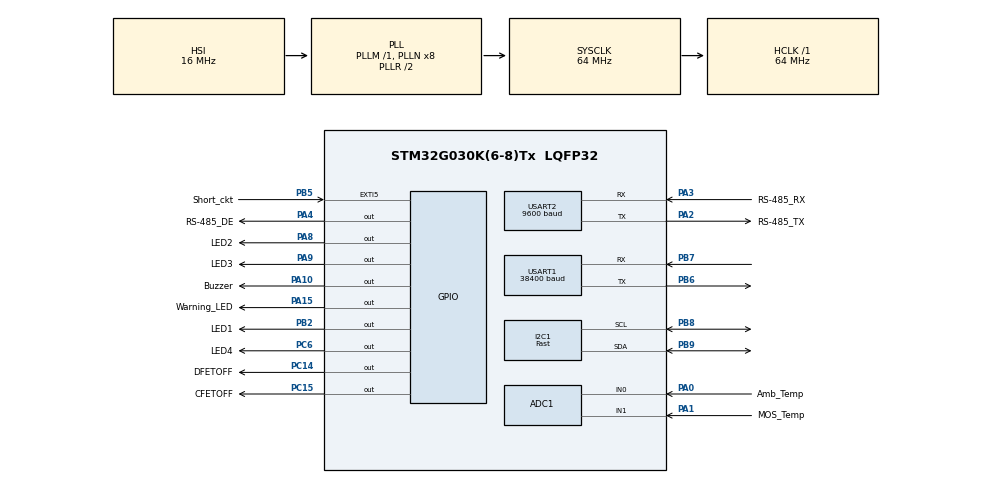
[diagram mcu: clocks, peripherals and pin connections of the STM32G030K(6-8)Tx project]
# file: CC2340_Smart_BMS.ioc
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ADC1.ClockPrescaler=ADC_CLOCK_SYNC_PCLK_DIV4
ADC1.NbrOfConversion=1
ADC1.NbrOfConversionFlag=0
ADC1.SamplingTimeCommon1=ADC_SAMPLETIME_7CYCLES_5
ADC1.SelectedChannel=ADC_CHANNEL_0|ADC_CHANNEL_1
ADC1.Sequencer=NOT_FULLY_CONFIGURABLE
ADC1.master=1
Dma.ADC1.0.Direction=DMA_PERIPH_TO_MEMORY
Dma.ADC1.0.EventEnable=DISABLE
Dma.ADC1.0.Instance=DMA1_Channel1
Dma.ADC1.0.MemDataAlignment=DMA_MDATAALIGN_HALFWORD
Dma.ADC1.0.MemInc=DMA_MINC_ENABLE
Dma.ADC1.0.Mode=DMA_CIRCULAR
Dma.ADC1.0.PeriphDataAlignment=DMA_PDATAALIGN_HALFWORD
Dma.ADC1.0.PeriphInc=DMA_PINC_DISABLE
Dma.ADC1.0.Polarity=HAL_DMAMUX_REQ_GEN_RISING
Dma.ADC1.0.Priority=DMA_PRIORITY_LOW
Dma.ADC1.0.RequestNumber=1
Dma.ADC1.0.SignalID=NONE
Dma.ADC1.0.SyncEnable=DISABLE
Dma.ADC1.0.SyncPolarity=HAL_DMAMUX_SYNC_NO_EVENT
Dma.ADC1.0.SyncRequestNumber=1
Dma.ADC1.0.SyncSignalID=NONE
Dma.Request0=ADC1
I2C1.I2C_Speed_Mode=I2C_Fast
I2C1.NoStretchMode=I2C_NOSTRETCH_ENABLE
I2C1.Timing=0x00602173
IWDG.Prescaler=IWDG_PRESCALER_256
IWDG.Reload=999
Mcu.Family=STM32G0
Mcu.Name=STM32G030K(6-8)Tx
Mcu.Package=LQFP32
NVIC.DMA1_Channel1_IRQn=true\:0\:0\:false\:false\:true\:false\:true\:true
NVIC.EXTI4_15_IRQn=true\:2\:0\:true\:false\:true\:true\:true\:true
NVIC.TIM14_IRQn=true\:1\:0\:true\:false\:true\:true\:true\:true
NVIC.USART1_IRQn=true\:0\:0\:true\:false\:true\:true\:true\:true
PA0.GPIO_Label=Amb_Temp
PA0.Mode=IN0
PA0.Signal=ADC1_IN0
PA1.GPIO_Label=MOS_Temp
PA1.Mode=IN1
PA1.Signal=ADC1_IN1
PA10.GPIO_Label=Buzzer
PA10.Signal=GPIO_Output
PA15.GPIO_Label=Warning_LED
PA15.Signal=GPIO_Output
PA2.GPIO_Label=RS-485_TX
PA2.Mode=Asynchronous
PA2.Signal=USART2_TX
PA3.GPIO_Label=RS-485_RX
PA3.Mode=Asynchronous
PA3.Signal=USART2_RX
PA4.GPIO_Label=RS-485_DE
PA4.Signal=GPIO_Output
PA8.GPIO_Label=LED2
PA8.Signal=GPIO_Output
PA9.GPIO_Label=LED3
PA9.Signal=GPIO_Output
PB2.GPIO_Label=LED1
PB2.Signal=GPIO_Output
PB5.GPIO_Label=Short_ckt
PB5.Signal=GPXTI5
PB6.Mode=Asynchronous
PB6.Signal=USART1_TX
PB7.Mode=Asynchronous
PB7.Signal=USART1_RX
PB8.Mode=I2C
PB8.Signal=I2C1_SCL
PB9.Mode=I2C
PB9.Signal=I2C1_SDA
PC14-OSC32_IN\ (PC14).GPIO_Label=DFETOFF
PC14-OSC32_IN\ (PC14).Signal=GPIO_Output
PC15-OSC32_OUT\ (PC15).GPIO_Label=CFETOFF
PC15-OSC32_OUT\ (PC15).Signal=GPIO_Output
PC6.GPIO_Label=LED4
PC6.Signal=GPIO_Output
ProjectManager.HeapSize=0x200
ProjectManager.StackSize=0x400
ProjectManager.TargetToolchain=MDK-ARM V5.32
RCC.ADCFreq_Value=64000000
RCC.AHBFreq_Value=64000000
RCC.CortexFreq_Value=64000000
RCC.EXTERNAL_CLOCK_VALUE=12288000
RCC.HCLKFreq_Value=64000000
RCC.HSE_VALUE=8000000
RCC.HSI_VALUE=16000000
RCC.LSE_VALUE=32768
RCC.SYSCLKFreq_VALUE=64000000
RCC.SYSCLKSource=RCC_SYSCLKSOURCE_PLLCLK
RCC.VCOOutputFreq_Value=128000000
TIM14.Period=9600
TIM14.Prescaler=1
USART1.BaudRate=38400
USART1.VirtualMode-Asynchronous=VM_ASYNC
USART2.BaudRate=9600
USART2.VirtualMode-Asynchronous=VM_ASYNC
VP_IWDG_VS_IWDG.Mode=IWDG_Activate
VP_TIM14_VS_ClockSourceINT.Mode=Enable_Timer
board=custom

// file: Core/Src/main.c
/* USER CODE BEGIN Header */
/**
  ******************************************************************************
  * @file           : main.c
  * @brief          : Main program body
  ******************************************************************************
  * @attention
  *
  * Copyright (c) 2025 STMicroelectronics.
  * All rights reserved.
  *
  * This software is licensed under terms that can be found in the LICENSE file
  * in the root directory of this software component.
  * If no LICENSE file comes with this software, it is provided AS-IS.
  *
  ******************************************************************************
  */
/* USER CODE END Header */
#include "main.h"
#include "UV_Recovery.h"
#include "adc.h"
#include "dma.h"
#include "i2c.h"
#include "iwdg.h"
#include "tim.h"
#include "usart.h"
#include "gpio.h"

/* USER CODE BEGIN Includes */
#include <stdio.h>
#include "BQ769x2Header.h"
#include "BQ76952.h"
#include "stm32g0xx_hal_spi.h"
#include "stm32g0xx_hal.h"
#include "stm32g0xx_ll_tim.h"
#include "stm32g0xx_ll_gpio.h"
#include "stm32g0xx_ll_usart.h"
#include "stm32g0xx_it.h"
#include <math.h>
/* USER CODE END Includes */

/* USER CODE BEGIN PD */
#define ADC_CONVERTED_DATA_BUFF_SIZE 	8
uint16_t aADC_Converted_Data[ADC_CONVERTED_DATA_BUFF_SIZE];
uint32_t aADC_Converted_Data_Buff[ADC_CONVERTED_DATA_BUFF_SIZE];
/* USER CODE END PD */

/* USER CODE BEGIN PV */
uint8_t sync =35;
//Ambient temperature
float amb_volt, amb_volt_flt;
int int_amb_volt;
double amb_resistance1, amb_res_ln1, amb_Temperature;
double amb_Temp;
const int SAMPLE_NUMBER = 15;
int num[10], sum ;
float	avg;

//Mosfet Temperature
float mosfet_volt, mosfet_volt_flt;
int int_mosfet_volt;
double mosfet_resistance, mosfet_res_ln, mosfet_temperature;
double mosfet_temp;
const int SAMPLE_NUMBER1 = 15;
int num1[10], sum1 ;
float	avg1;

extern volatile uint8_t scheduler_flag;
extern volatile uint8_t read_bq76952_flag;
/* USER CODE END PV */

void SystemClock_Config(void);
/* USER CODE BEGIN PFP */
void delay_1us(uint32_t count);
void ADC_Sampling(void);
void Amb_Temp(void);
void mosfet_Temp(void);

extern void Copy_Flash_To_Ram(int32_t *s32pram_address, /*int32_t*/int64_t *s32pflash_address, uint8_t u8size);
extern const int64_t s32aSystem_Tuning_Fixed_Parameters[26];
extern int32_t s32aSystem_Tuning_Variable_Parameters[26];
extern uint8_t Flash_Erase_and_Program(void);
extern void Task_Scheduler(void);
extern void CAN_Tranmitter(void);
/* USER CODE END PFP */

/* USER CODE BEGIN 0 */
extern void read_last_SOC_and_Cycles(uint8_t *soc, uint16_t *cycles, uint8_t *flag);

void AFE_Init(void)
{
  HAL_Delay(1000);
  CommandSubcommands(BQ769x2_RESET);  // Resets the BQ769x2 registers
	delay_1us(60000);
	BQ769x2_Init();  // Configure all of the BQ769x2 register settings
	delay_1us(10000);
	CommandSubcommands(FET_ENABLE); // Enable the CHG and DSG FETs
	delay_1us(10000);

	//CommandSubcommands(LOAD_DETECT_ON); // Enable Load Detection
	//delay_1us(10000);

	CommandSubcommands(SLEEP_DISABLE); // Sleep mode is enabled by default. For this example, Sleep is disabled to
									   // demonstrate full-speed measurements in Normal mode.  //SLEEP_DISABLE  SLEEP_ENABLE

	delay_1us(60000); delay_1us(60000); delay_1us(60000); delay_1us(60000);  //wait to start measurements after FETs close

}
/* USER CODE END 0 */

int main(void)
{

  /* MCU Configuration--------------------------------------------------------*/

  /* Reset of all peripherals, Initializes the Flash interface and the Systick. */
  HAL_Init();
  UV_Recovery_Init();

  /* Configure the system clock */
  SystemClock_Config();

  /* Initialize all configured peripherals */
  MX_GPIO_Init();
  MX_DMA_Init();
  MX_ADC1_Init();
  MX_USART2_UART_Init();
  MX_I2C1_Init();
  MX_TIM14_Init();
  MX_USART1_UART_Init();
  //MX_IWDG_Init();
  /* USER CODE BEGIN 2 */

	LL_USART_EnableIT_RXNE(USART1);		/*ENABLE UART Receiver Full Interrupt Error*/
	LL_USART_Enable(USART1);

	LL_USART_EnableIT_RXNE(USART2);		/*ENABLE UART Receiver Full Interrupt Error*/
	LL_USART_Enable(USART2);

	AFE_Init();

  Copy_Flash_To_Ram((int32_t *)&s32aSystem_Tuning_Variable_Parameters[0],(int64_t *)&s32aSystem_Tuning_Fixed_Parameters[0],26);

	HAL_ADCEx_Calibration_Start(&hadc1);			//Calibrate to ADC before starting sampling of channel hadc1 instead of hadc
	LL_ADC_Enable(ADC1);
	while (!(LL_ADC_IsActiveFlag_ADRDY(ADC1)))
	{
	}

	LL_ADC_REG_SetSequencerChannels(ADC1,LL_ADC_CHANNEL_0|LL_ADC_CHANNEL_1|LL_ADC_CHANNEL_2			/*Set Channel Sequence for sampling*/
																	|LL_ADC_CHANNEL_3|LL_ADC_CHANNEL_4|LL_ADC_CHANNEL_5|LL_ADC_CHANNEL_7|LL_ADC_CHANNEL_8);

	LL_ADC_REG_SetDMATransfer(ADC1,LL_ADC_REG_DMA_TRANSFER_UNLIMITED);			/*Set DMA for ADC */

	/*Set DMA Transfer for Source to Destination*/
	LL_DMA_ConfigAddresses(DMA1,
                         LL_DMA_CHANNEL_1,			/*Set DMA Channel*/
                         LL_ADC_DMA_GetRegAddr(ADC1, LL_ADC_DMA_REG_REGULAR_DATA), /*peripheral Address*/
                         (uint32_t)&aADC_Converted_Data,		/*Memory Address*/
                         LL_DMA_DIRECTION_PERIPH_TO_MEMORY);	/*Data Flow Direction*/

	LL_DMA_SetDataLength(DMA1,LL_DMA_CHANNEL_1, ADC_CONVERTED_DATA_BUFF_SIZE);  /*Set DMA Transfer Size*/

  LL_DMA_EnableChannel(DMA1,LL_DMA_CHANNEL_1);	/*Ebale DMA*/

  LL_TIM_SetUpdateSource(TIM14,LL_TIM_UPDATESOURCE_COUNTER);  /*Update Source Selection*/
	LL_TIM_EnableIT_UPDATE(TIM14);
	LL_TIM_EnableCounter(TIM14);

	read_last_SOC_and_Cycles(&final_soc, &Total_cycles, &SOC_init_flag);
	soc = final_soc/100.0;
	soc_prev = soc;

	AFE_Init();
	MX_IWDG_Init();
  /* USER CODE END 2 */

  /* Infinite loop */
  while (1)
  {

    /* USER CODE BEGIN 3 */
		UV_Recovery_Service(); HAL_IWDG_Refresh(&hiwdg);  // Refresh the watchdog timer 3 seconds

		if (scheduler_flag)
    {
     scheduler_flag = 0;
     Task_Scheduler();  // Execute tasks outside ISR
    }
		if (read_bq76952_flag) //Read voltage/current in background
    {
     read_bq76952_flag = 0;
     BQ76952_Read_Voltage_Current_temp();
    }
		BQ769x2_ServiceCommErrors();

		if(s32aSystem_Tuning_Variable_Parameters[19] == 4321)
		{
			s32aSystem_Tuning_Variable_Parameters[19] = 1234;
			LL_TIM_DisableIT_UPDATE(TIM14);
			LL_USART_DisableIT_RXNE(USART1);

			s32aSystem_Tuning_Variable_Parameters[18] = (int32_t)Flash_Erase_and_Program();

			if(s32aSystem_Tuning_Variable_Parameters[18] == 3)

			Copy_Flash_To_Ram((int32_t *)&s32aSystem_Tuning_Variable_Parameters[0],(int64_t *)&s32aSystem_Tuning_Fixed_Parameters[0],26);
			LL_TIM_EnableIT_UPDATE(TIM14);
			LL_USART_EnableIT_RXNE(USART1);
		}

	}
  /* USER CODE END 3 */
}

void SystemClock_Config(void)
{
  RCC_OscInitTypeDef RCC_OscInitStruct = {0};
  RCC_ClkInitTypeDef RCC_ClkInitStruct = {0};

  /** Configure the main internal regulator output voltage
  */
  HAL_PWREx_ControlVoltageScaling(PWR_REGULATOR_VOLTAGE_SCALE1);

  /** Initializes the RCC Oscillators according to the specified parameters
  * in the RCC_OscInitTypeDef structure.
  */
  RCC_OscInitStruct.OscillatorType = RCC_OSCILLATORTYPE_HSI|RCC_OSCILLATORTYPE_LSI;
  RCC_OscInitStruct.HSIState = RCC_HSI_ON;
  RCC_OscInitStruct.HSIDiv = RCC_HSI_DIV1;
  RCC_OscInitStruct.HSICalibrationValue = RCC_HSICALIBRATION_DEFAULT;
  RCC_OscInitStruct.LSIState = RCC_LSI_ON;
  RCC_OscInitStruct.PLL.PLLState = RCC_PLL_ON;
  RCC_OscInitStruct.PLL.PLLSource = RCC_PLLSOURCE_HSI;
  RCC_OscInitStruct.PLL.PLLM = RCC_PLLM_DIV1;
  RCC_OscInitStruct.PLL.PLLN = 8;
  RCC_OscInitStruct.PLL.PLLP = RCC_PLLP_DIV2;
  RCC_OscInitStruct.PLL.PLLR = RCC_PLLR_DIV2;
  if (HAL_RCC_OscConfig(&RCC_OscInitStruct) != HAL_OK)
  {
    Error_Handler();
  }

  /** Initializes the CPU, AHB and APB buses clocks
  */
  RCC_ClkInitStruct.ClockType = RCC_CLOCKTYPE_HCLK|RCC_CLOCKTYPE_SYSCLK
                              |RCC_CLOCKTYPE_PCLK1;
  RCC_ClkInitStruct.SYSCLKSource = RCC_SYSCLKSOURCE_PLLCLK;
  RCC_ClkInitStruct.AHBCLKDivider = RCC_SYSCLK_DIV1;
  RCC_ClkInitStruct.APB1CLKDivider = RCC_HCLK_DIV1;

  if (HAL_RCC_ClockConfig(&RCC_ClkInitStruct, FLASH_LATENCY_2) != HAL_OK)
  {
    Error_Handler();
  }
}

/* USER CODE BEGIN 4 */
void delay_1us(uint32_t count)//1us//70//14ns per instruction
	{
	  while(count!=0)
		{
		 for(int i=0;i<40;i++) //40
		 __ASM volatile ("NOP");
		 count--;
	  }
	}

void ADC_Read_Temp()
{
		LL_ADC_REG_StartConversion(ADC1);					/*Start ADC Conversion*/

		while(!LL_DMA_IsActiveFlag_TC1(DMA1));		/*wait for ADC conversion and DMA Request completion*/

		LL_DMA_ClearFlag_GI1(DMA1);								/*Clear DMA Flag*/
	  ADC_Sampling();
}

void ADC_Sampling(void)
{
	aADC_Converted_Data_Buff[0] +=  aADC_Converted_Data[0];

	aADC_Converted_Data_Buff[1] +=  aADC_Converted_Data[1];
	aADC_Converted_Data_Buff[2] +=  aADC_Converted_Data[2];
	aADC_Converted_Data_Buff[3] +=  aADC_Converted_Data[3];
  aADC_Converted_Data_Buff[4] +=  aADC_Converted_Data[4];
	aADC_Converted_Data_Buff[5] +=  aADC_Converted_Data[5];
}

void Amb_Temp(void)
{
	// amb_volt = aADC_Converted_Data[0]*(3.3/4096);
	 //int_amb_volt = (amb_volt * 100);

	  for (int i = 0; i < SAMPLE_NUMBER; ++i)
		{
		 amb_volt = aADC_Converted_Data[0]*(3.3/4096);
	   int_amb_volt = (amb_volt * 100);
		 num[i] = int_amb_volt;
     sum += num[i];
    }

		 avg = sum / SAMPLE_NUMBER;
		 sum = 0;

	 amb_volt_flt = (float) avg;
	 amb_volt_flt = amb_volt_flt/100.00;

	 amb_resistance1 = 34*amb_volt_flt/(16.5-8.4*amb_volt_flt);
	 amb_resistance1= amb_resistance1 * 1000 ; // Resistance in ohms
	 amb_res_ln1 = log(amb_resistance1);
	 amb_Temperature = ( 1 / ( 0.001129148 + ( 0.000234125 * amb_res_ln1 ) + ( 0.0000000876741 * amb_res_ln1 * amb_res_ln1 * amb_res_ln1 ) ) );  //Temperature in Kelvin
	 amb_Temperature =  amb_Temperature-273.15; // Temperature in degree Celsius
   amb_Temp = (int)	amb_Temperature;
}

void mosfet_Temp(void)
{
	 // mosfet_volt = aADC_Converted_Data[1]*(3.3/4096);
	 // int_mosfet_volt = (mosfet_volt * 100);

	  for (int i = 0; i < SAMPLE_NUMBER1; ++i)
		{
		 mosfet_volt = aADC_Converted_Data[1]*(3.3/4096);
	   int_mosfet_volt = (mosfet_volt * 100);
		 num1[i] = int_mosfet_volt;
     sum1 += num1[i];
    }

		 avg1 = sum1 / SAMPLE_NUMBER1;
		 sum1 = 0;

		mosfet_volt_flt = (float) avg1;
		mosfet_volt_flt = mosfet_volt_flt/100.00;

	  mosfet_resistance = 34*mosfet_volt_flt/(16.5-8.4*mosfet_volt_flt);
	  mosfet_resistance= mosfet_resistance * 1000 ; // Resistance in ohms
	  mosfet_res_ln = log(mosfet_resistance);
	  mosfet_temperature = ( 1 / ( 0.001129148 + ( 0.000234125 * mosfet_res_ln ) + ( 0.0000000876741 * mosfet_res_ln * mosfet_res_ln * mosfet_res_ln ) ) );  //Temperature in Kelvin
	  mosfet_temperature =  mosfet_temperature-273.15; // Temperature in degree Celsius
    mosfet_temp = (int)	mosfet_temperature;
    if (mosfet_temp>=65)
		{
		 mosfet_temp = mosfet_temp-4;
		}
}

/* USER CODE END 4 */

void Error_Handler(void)
{
  __disable_irq();
  while (1)
  {
  }
}
